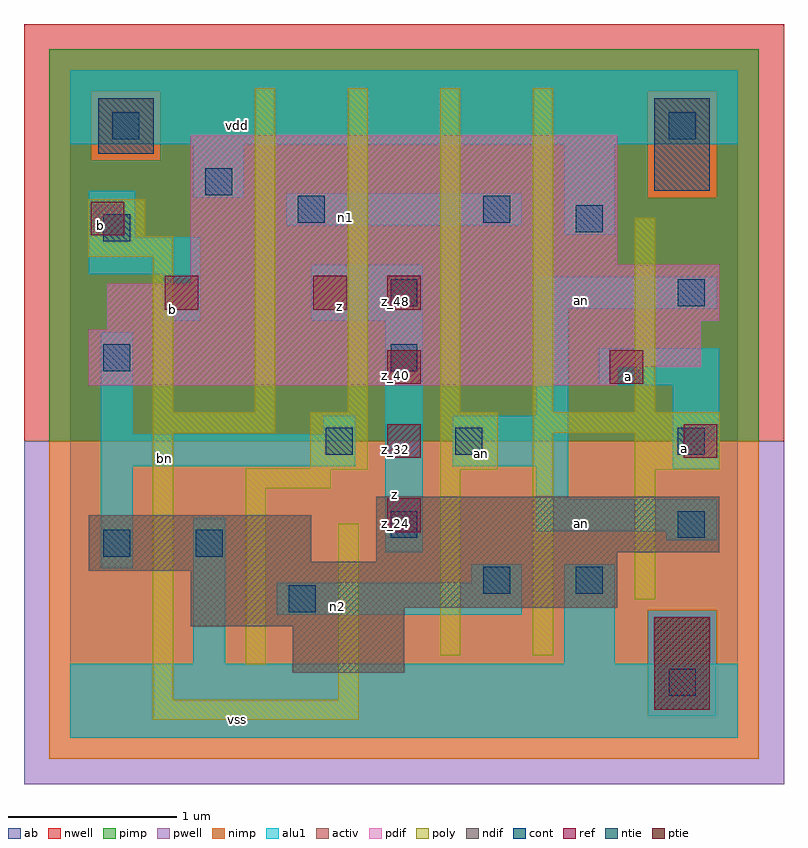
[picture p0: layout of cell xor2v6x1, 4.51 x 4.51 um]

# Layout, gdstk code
import gdstk
lib = gdstk.Library(unit=1e-6, precision=2.5e-09)
def R(c, l, rs):  # rectangles x0, y0, x1, y1
    for r in rs: c.add(gdstk.rectangle(r[:2], r[2:], *l))
def A(c, l, x, y, w, h, nx, ny, dx, dy):  # array of equal rectangles
    R(c, l, [(x+i*dx, y+j*dy, x+i*dx+w, y+j*dy+h) for i in range(nx) for j in range(ny)])
ndif = (3, 0)
pdif = (4, 0)
ntie = (5, 0)
ptie = (6, 0)
ref = (24, 0)
cont = (25, 0)
pwell = (41, 0)
nwell = (42, 0)
activ = (43, 0)
pimp = (44, 0)
nimp = (45, 0)
poly = (46, 0)
alu1 = (49, 0)
ab = (63, 0)

xor2v6x1 = lib.new_cell('xor2v6x1')
R(xor2v6x1, ndif, [(1.32,0.385,1.98,0.66), (0.715,0.66,1.98,0.77), (0.715,0.77,3.245,0.99), (0.11,0.99,3.245,1.045), (0.11,1.045,1.43,1.32), (1.815,1.045,3.245,1.1), (1.815,1.1,3.85,1.43)])
R(xor2v6x1, pdif, [(0.11,2.09,3.245,2.2), (0.11,2.2,3.74,2.42), (0.22,2.42,3.74,2.475), (0.22,2.475,3.85,2.695), (0.715,2.695,3.85,2.805), (0.715,2.805,3.245,3.575)])
R(xor2v6x1, ntie, [(3.465,3.245,3.795,3.795), (0.165,3.465,0.495,3.795)])
R(xor2v6x1, ptie, [(3.465,0.165,3.795,0.715)])
A(xor2v6x1, ref, 1.88, 1.22, 0.2, 0.2, 1, 4, 0, 0.44)
R(xor2v6x1, ref, [(3.64,1.66,3.84,1.86), (3.2,2.1,3.4,2.3), (0.56,2.54,0.76,2.74), (1.44,2.54,1.64,2.74), (0.12,2.98,0.32,3.18)])
R(xor2v6x1, cont, [(3.55,0.25,3.71,0.41), (1.295,0.745,1.455,0.905), (2.45,0.855,2.61,1.015), (3,0.855,3.16,1.015), (0.195,1.075,0.355,1.235), (0.745,1.075,0.905,1.235), (1.9,1.185,2.06,1.345), (3.605,1.185,3.765,1.345), (1.515,1.68,1.675,1.84), (2.285,1.68,2.445,1.84), (3.605,1.68,3.765,1.84), (0.195,2.175,0.355,2.335), (1.9,2.175,2.06,2.335), (1.9,2.56,2.06,2.72), (3.605,2.56,3.765,2.72), (0.195,2.945,0.355,3.105), (3,3,3.16,3.16), (1.35,3.055,1.51,3.215), (2.45,3.055,2.61,3.215), (0.8,3.22,0.96,3.38), (0.25,3.55,0.41,3.71), (3.55,3.55,3.71,3.71)])
R(xor2v6x1, pwell, [(-0.275,-0.275,4.235,1.76)])
R(xor2v6x1, nwell, [(-0.275,1.76,4.235,4.235)])
R(xor2v6x1, activ, [(3.465,0.165,3.795,0.715), (1.32,0.385,1.98,0.66), (0.715,0.66,1.98,0.77), (0.715,0.77,3.245,0.99), (0.11,0.99,3.245,1.045), (0.11,1.045,1.43,1.32), (1.815,1.045,3.245,1.1), (1.815,1.1,3.85,1.43), (0.11,2.09,3.245,2.2), (0.11,2.2,3.74,2.42), (0.22,2.42,3.74,2.475), (0.22,2.475,3.85,2.695), (0.715,2.695,3.85,2.805), (0.715,2.805,3.245,3.575), (3.465,3.245,3.795,3.795), (0.165,3.465,0.495,3.795)])
R(xor2v6x1, pimp, [(3.425,0.125,3.835,0.755), (-0.125,1.76,4.085,3.205), (-0.125,3.205,3.425,3.425), (3.835,3.205,4.085,3.835), (-0.125,3.425,0.125,3.835), (0.535,3.425,3.425,3.835), (-0.125,3.835,4.085,4.085)])
R(xor2v6x1, nimp, [(-0.125,-0.125,4.085,0.125), (-0.125,0.125,3.425,0.755), (3.835,0.125,4.085,0.755), (-0.125,0.755,4.085,1.76), (3.425,3.205,3.835,3.835), (0.125,3.425,0.535,3.835)])
A(xor2v6x1, poly, 1.095, 1.93, 0.12, 1.925, 4, 1, 0.55, 0)
R(xor2v6x1, poly, [(0.49,0.105,1.71,0.225), (0.49,0.225,0.61,1.81), (1.59,0.225,1.71,1.27), (1.04,0.435,1.16,1.48), (2.195,0.49,2.315,1.59), (2.745,0.49,2.865,1.81), (3.35,0.82,3.47,1.59), (1.04,1.48,1.545,1.59), (1.04,1.59,1.765,1.6), (2.195,1.59,2.535,1.93), (3.35,1.59,3.855,1.81), (1.425,1.6,1.765,1.93), (0.49,1.81,1.215,1.93), (2.745,1.81,3.855,1.93), (0.49,1.93,0.61,2.855), (3.35,1.93,3.47,3.085), (0.105,2.855,0.61,2.975), (0.105,2.975,0.445,3.195)])
R(xor2v6x1, alu1, [(0,0,3.96,0.44), (0.73,0.44,0.92,1.305), (2.93,0.44,3.23,1.03), (1.225,0.73,2.68,0.92), (2.38,0.92,2.68,1.03), (0.18,1.005,0.37,1.61), (1.87,1.1,2.09,2.475), (3.535,1.17,3.835,1.225), (2.765,1.225,3.835,1.415), (2.765,1.415,2.955,1.61), (3.575,1.595,3.85,2.09), (0.18,1.61,1.69,1.8), (2.27,1.61,2.955,1.91), (0.18,1.8,0.37,2.405), (1.5,1.8,1.69,1.91), (2.765,1.91,2.955,2.545), (3.135,2.09,3.85,2.31), (0.55,2.475,0.77,2.75), (1.43,2.475,2.09,2.805), (2.765,2.545,3.835,2.735), (0.11,2.75,0.77,2.97), (0.11,2.97,0.385,3.245), (2.93,2.985,3.23,3.52), (1.28,3.04,2.68,3.23), (0.73,3.205,1.03,3.52), (0,3.52,3.96,3.96)])
R(xor2v6x1, ab, [(0,0,3.96,3.96)])
xor2v6x1.add(gdstk.Label('vss', (0.99,0.11), layer=49, texttype=0))
xor2v6x1.add(gdstk.Label('n2', (1.5875,0.7775), layer=49, texttype=0))
xor2v6x1.add(gdstk.Label('an', (3.0325,1.2725), layer=49, texttype=0))
xor2v6x1.add(gdstk.Label('a', (3.6425,1.7175), layer=49, texttype=0))
xor2v6x1.add(gdstk.Label('an', (2.44,1.685), layer=49, texttype=0))
xor2v6x1.add(gdstk.Label('a', (3.3125,2.145), layer=49, texttype=0))
xor2v6x1.add(gdstk.Label('an', (3.0325,2.5925), layer=49, texttype=0))
xor2v6x1.add(gdstk.Label('z', (1.925,1.4425), layer=49, texttype=0))
xor2v6x1.add(gdstk.Label('bn', (0.5575,1.6575), layer=49, texttype=0))
xor2v6x1.add(gdstk.Label('z', (1.595,2.5575), layer=49, texttype=0))
xor2v6x1.add(gdstk.Label('b', (0.605,2.5425), layer=49, texttype=0))
xor2v6x1.add(gdstk.Label('n1', (1.63,3.0875), layer=49, texttype=0))
xor2v6x1.add(gdstk.Label('b', (0.1775,3.0375), layer=49, texttype=0))
xor2v6x1.add(gdstk.Label('vdd', (0.99,3.63), layer=49, texttype=0))
xor2v6x1.add(gdstk.Label('z_48', (1.49,2.59), layer=24, texttype=0))
xor2v6x1.add(gdstk.Label('z_40', (1.93,2.15), layer=24, texttype=0))
xor2v6x1.add(gdstk.Label('z_32', (1.93,1.71), layer=24, texttype=0))
xor2v6x1.add(gdstk.Label('z_24', (1.93,1.27), layer=24, texttype=0))
xor2v6x1.add(gdstk.Label('z_48', (1.93,2.59), layer=24, texttype=0))
xor2v6x1.add(gdstk.Label('b_56', (0.17,3.03), layer=24, texttype=0))
xor2v6x1.add(gdstk.Label('b_48', (0.61,2.59), layer=24, texttype=0))
xor2v6x1.add(gdstk.Label('a_32', (3.69,1.71), layer=24, texttype=0))
xor2v6x1.add(gdstk.Label('a_40', (3.25,2.15), layer=24, texttype=0))

lib.write_gds('xor2v6x1.gds')
